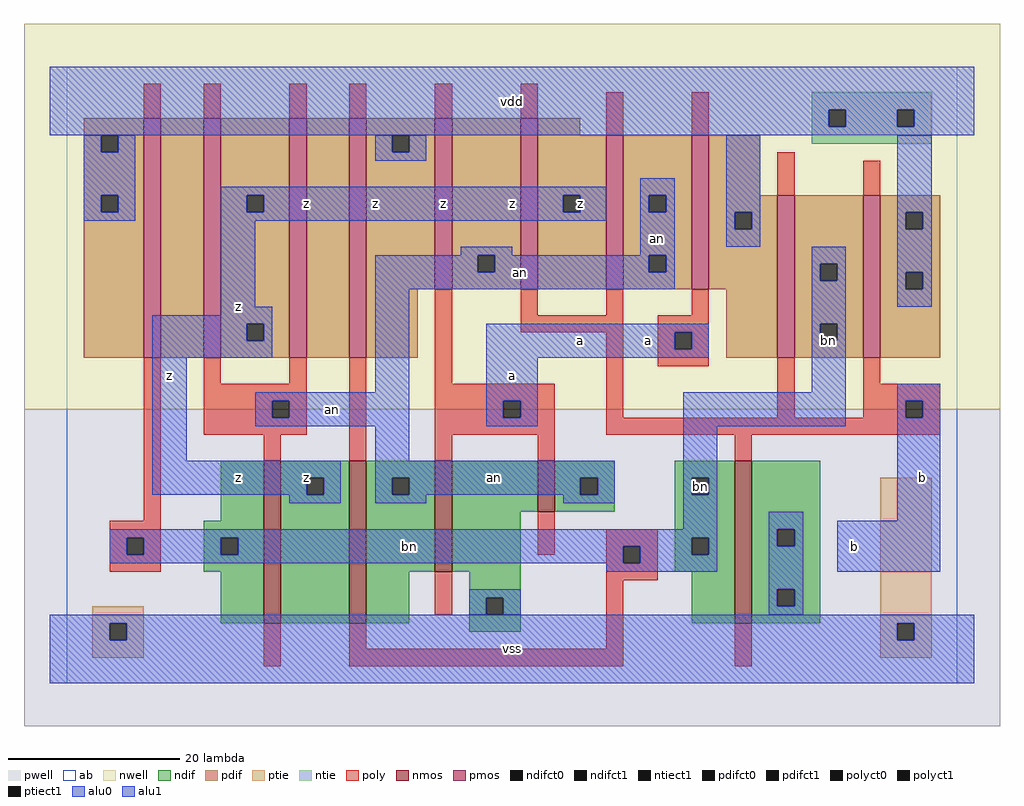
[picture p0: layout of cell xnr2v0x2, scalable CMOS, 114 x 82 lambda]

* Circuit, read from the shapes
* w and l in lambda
.subckt xnr2v0x2 a an b bn vdd vss z
M1 z an bn vss nfet w=19 l=2
M2 an bn z vss nfet w=19 l=2
M3 vss a an vss nfet w=13 l=2
M4 an a vss vss nfet w=6 l=2
M5 vss b bn vss nfet w=19 l=2
M6 n1 bn vdd vdd pfet w=28 l=2
M7 z an n1 vdd pfet w=28 l=2
M8 n2 an z vdd pfet w=28 l=2
M9 vdd bn n2 vdd pfet w=28 l=2
M10 an a vdd vdd pfet w=20 l=2
M11 z b an vdd pfet w=20 l=2
M12 an b z vdd pfet w=18 l=2
M13 vdd a an vdd pfet w=18 l=2
M14 bn b vdd vdd pfet w=19 l=2 m=2
.ends

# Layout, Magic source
magic
tech scmos
<< ab >>
rect 0 0 104 72
<< nwell >>
rect -5 32 109 77
<< pwell >>
rect -5 -5 109 32
<< poly >>
rect 9 66 11 70
rect 16 66 18 70
rect 26 66 28 70
rect 33 66 35 70
rect 43 66 45 70
rect 53 66 55 70
rect 63 64 65 69
rect 73 64 75 69
rect 83 57 85 62
rect 93 57 95 61
rect 9 19 11 38
rect 16 35 18 38
rect 26 35 28 38
rect 16 33 28 35
rect 16 31 24 33
rect 26 31 28 33
rect 16 29 28 31
rect 23 26 25 29
rect 33 26 35 38
rect 43 35 45 46
rect 53 43 55 46
rect 63 43 65 46
rect 73 43 75 46
rect 53 41 65 43
rect 43 33 57 35
rect 43 31 51 33
rect 53 31 57 33
rect 43 29 57 31
rect 63 31 65 41
rect 69 41 75 43
rect 69 39 71 41
rect 73 39 75 41
rect 69 37 75 39
rect 83 31 85 38
rect 93 35 95 38
rect 93 33 102 35
rect 93 31 98 33
rect 100 31 102 33
rect 63 29 102 31
rect 43 26 45 29
rect 55 26 57 29
rect 78 26 80 29
rect 5 17 11 19
rect 5 15 7 17
rect 9 15 11 17
rect 5 13 11 15
rect 55 15 57 20
rect 63 16 69 18
rect 43 8 45 13
rect 23 2 25 7
rect 33 4 35 7
rect 63 14 65 16
rect 67 14 69 16
rect 63 12 69 14
rect 63 4 65 12
rect 33 2 65 4
rect 78 2 80 7
<< ndif >>
rect 18 19 23 26
rect 16 17 23 19
rect 16 15 18 17
rect 20 15 23 17
rect 16 13 23 15
rect 18 7 23 13
rect 25 24 33 26
rect 25 22 28 24
rect 30 22 33 24
rect 25 7 33 22
rect 35 24 43 26
rect 35 22 38 24
rect 40 22 43 24
rect 35 13 43 22
rect 45 20 55 26
rect 57 24 64 26
rect 57 22 60 24
rect 62 22 64 24
rect 57 20 64 22
rect 71 24 78 26
rect 71 22 73 24
rect 75 22 78 24
rect 45 13 53 20
rect 35 7 40 13
rect 47 10 53 13
rect 47 8 49 10
rect 51 8 53 10
rect 47 6 53 8
rect 71 17 78 22
rect 71 15 73 17
rect 75 15 78 17
rect 71 13 78 15
rect 73 7 78 13
rect 80 18 88 26
rect 80 16 83 18
rect 85 16 88 18
rect 80 11 88 16
rect 80 9 83 11
rect 85 9 88 11
rect 80 7 88 9
<< pdif >>
rect 2 64 9 66
rect 2 62 4 64
rect 6 62 9 64
rect 2 57 9 62
rect 2 55 4 57
rect 6 55 9 57
rect 2 38 9 55
rect 11 38 16 66
rect 18 57 26 66
rect 18 55 21 57
rect 23 55 26 57
rect 18 42 26 55
rect 18 40 21 42
rect 23 40 26 42
rect 18 38 26 40
rect 28 38 33 66
rect 35 64 43 66
rect 35 62 38 64
rect 40 62 43 64
rect 35 46 43 62
rect 45 50 53 66
rect 45 48 48 50
rect 50 48 53 50
rect 45 46 53 48
rect 55 64 60 66
rect 55 57 63 64
rect 55 55 58 57
rect 60 55 63 57
rect 55 46 63 55
rect 65 57 73 64
rect 65 55 68 57
rect 70 55 73 57
rect 65 50 73 55
rect 65 48 68 50
rect 70 48 73 50
rect 65 46 73 48
rect 75 57 81 64
rect 75 55 83 57
rect 75 53 78 55
rect 80 53 83 55
rect 75 46 83 53
rect 35 38 41 46
rect 77 38 83 46
rect 85 49 93 57
rect 85 47 88 49
rect 90 47 93 49
rect 85 42 93 47
rect 85 40 88 42
rect 90 40 93 42
rect 85 38 93 40
rect 95 55 102 57
rect 95 53 98 55
rect 100 53 102 55
rect 95 48 102 53
rect 95 46 98 48
rect 100 46 102 48
rect 95 38 102 46
<< alu1 >>
rect -2 67 106 72
rect -2 65 89 67
rect 91 65 97 67
rect 99 65 106 67
rect -2 64 106 65
rect 18 57 63 58
rect 18 55 21 57
rect 23 55 58 57
rect 60 55 63 57
rect 18 54 63 55
rect 18 44 22 54
rect 18 43 24 44
rect 10 42 24 43
rect 10 40 21 42
rect 23 40 24 42
rect 10 38 24 40
rect 10 26 14 38
rect 49 41 75 42
rect 49 39 71 41
rect 73 39 75 41
rect 49 38 75 39
rect 49 33 55 38
rect 49 31 51 33
rect 53 31 55 33
rect 49 30 55 31
rect 97 33 102 35
rect 97 31 98 33
rect 100 31 102 33
rect 10 24 32 26
rect 10 22 28 24
rect 30 22 32 24
rect 26 21 32 22
rect 97 19 102 31
rect 90 13 102 19
rect -2 7 106 8
rect -2 5 5 7
rect 7 5 97 7
rect 99 5 106 7
rect -2 0 106 5
<< ptie >>
rect 3 7 9 9
rect 3 5 5 7
rect 7 5 9 7
rect 3 3 9 5
rect 95 7 101 24
rect 95 5 97 7
rect 99 5 101 7
rect 95 3 101 5
<< ntie >>
rect 87 67 101 69
rect 87 65 89 67
rect 91 65 97 67
rect 99 65 101 67
rect 87 63 101 65
<< nmos >>
rect 23 7 25 26
rect 33 7 35 26
rect 43 13 45 26
rect 55 20 57 26
rect 78 7 80 26
<< pmos >>
rect 9 38 11 66
rect 16 38 18 66
rect 26 38 28 66
rect 33 38 35 66
rect 43 46 45 66
rect 53 46 55 66
rect 63 46 65 64
rect 73 46 75 64
rect 83 38 85 57
rect 93 38 95 57
<< polyct0 >>
rect 24 31 26 33
rect 7 15 9 17
rect 65 14 67 16
<< polyct1 >>
rect 51 31 53 33
rect 71 39 73 41
rect 98 31 100 33
<< ndifct0 >>
rect 18 15 20 17
rect 38 22 40 24
rect 60 22 62 24
rect 73 22 75 24
rect 49 8 51 10
rect 73 15 75 17
rect 83 16 85 18
rect 83 9 85 11
<< ndifct1 >>
rect 28 22 30 24
<< ntiect1 >>
rect 89 65 91 67
rect 97 65 99 67
<< ptiect1 >>
rect 5 5 7 7
rect 97 5 99 7
<< pdifct0 >>
rect 4 62 6 64
rect 4 55 6 57
rect 38 62 40 64
rect 48 48 50 50
rect 68 55 70 57
rect 68 48 70 50
rect 78 53 80 55
rect 88 47 90 49
rect 88 40 90 42
rect 98 53 100 55
rect 98 46 100 48
<< pdifct1 >>
rect 21 55 23 57
rect 21 40 23 42
rect 58 55 60 57
<< alu0 >>
rect 2 62 4 64
rect 6 62 8 64
rect 2 57 8 62
rect 36 62 38 64
rect 40 62 42 64
rect 36 61 42 62
rect 2 55 4 57
rect 6 55 8 57
rect 2 54 8 55
rect 67 57 71 59
rect 67 55 68 57
rect 70 55 71 57
rect 46 50 52 51
rect 67 50 71 55
rect 77 55 81 64
rect 77 53 78 55
rect 80 53 81 55
rect 77 51 81 53
rect 97 55 101 64
rect 97 53 98 55
rect 100 53 101 55
rect 36 48 48 50
rect 50 48 68 50
rect 70 48 71 50
rect 36 46 71 48
rect 87 49 91 51
rect 87 47 88 49
rect 90 47 91 49
rect 36 34 40 46
rect 87 42 91 47
rect 97 48 101 53
rect 97 46 98 48
rect 100 46 101 48
rect 97 44 101 46
rect 22 33 40 34
rect 22 31 24 33
rect 26 31 40 33
rect 22 30 40 31
rect 87 40 88 42
rect 90 40 91 42
rect 87 34 91 40
rect 72 30 91 34
rect 36 26 40 30
rect 36 24 64 26
rect 36 22 38 24
rect 40 22 60 24
rect 62 22 64 24
rect 36 21 42 22
rect 58 21 64 22
rect 72 24 76 30
rect 72 22 73 24
rect 75 22 76 24
rect 72 18 76 22
rect 5 17 76 18
rect 5 15 7 17
rect 9 15 18 17
rect 20 16 73 17
rect 20 15 65 16
rect 5 14 65 15
rect 67 15 73 16
rect 75 15 76 17
rect 67 14 76 15
rect 63 13 76 14
rect 82 18 86 20
rect 82 16 83 18
rect 85 16 86 18
rect 82 11 86 16
rect 47 10 53 11
rect 47 8 49 10
rect 51 8 53 10
rect 82 9 83 11
rect 85 9 86 11
rect 82 8 86 9
<< labels >>
rlabel alu0 31 32 31 32 6 an
rlabel alu0 50 24 50 24 6 an
rlabel alu0 53 48 53 48 6 an
rlabel alu0 69 52 69 52 6 an
rlabel alu0 40 16 40 16 6 bn
rlabel ndifct0 74 23 74 23 6 bn
rlabel alu0 89 40 89 40 6 bn
rlabel alu1 20 24 20 24 6 z
rlabel alu1 12 36 12 36 6 z
rlabel alu1 20 44 20 44 6 z
rlabel alu1 28 24 28 24 6 z
rlabel alu1 44 56 44 56 6 z
rlabel alu1 36 56 36 56 6 z
rlabel alu1 28 56 28 56 6 z
rlabel alu1 52 4 52 4 6 vss
rlabel alu1 68 40 68 40 6 a
rlabel alu1 60 40 60 40 6 a
rlabel alu1 52 36 52 36 6 a
rlabel alu1 60 56 60 56 6 z
rlabel alu1 52 56 52 56 6 z
rlabel alu1 52 68 52 68 6 vdd
rlabel alu1 92 16 92 16 6 b
rlabel alu1 100 24 100 24 6 b
<< end >>
